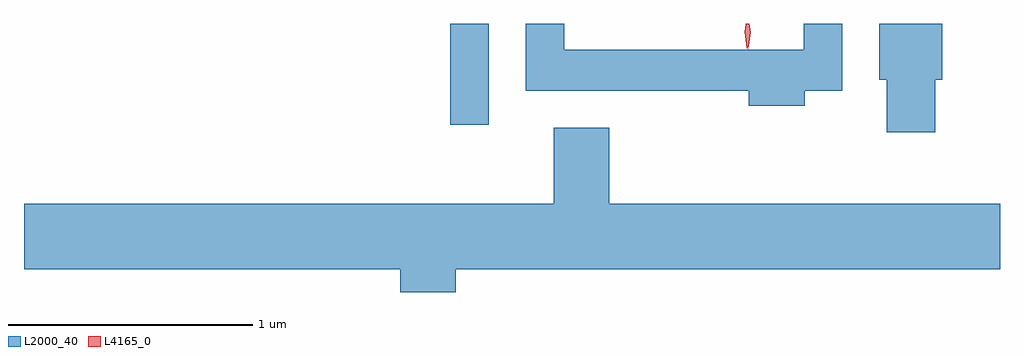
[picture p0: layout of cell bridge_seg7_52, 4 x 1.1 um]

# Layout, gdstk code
import gdstk
lib = gdstk.Library(unit=1e-6, precision=1e-09)
def R(c, l, rs):  # rectangles x0, y0, x1, y1
    for r in rs: c.add(gdstk.rectangle(r[:2], r[2:], *l))
def P(c, l, *ps):  # polygons
    for p in ps: c.add(gdstk.Polygon(p, *l))
L2000_40 = (2000, 40)
L4165_0 = (4165, 0)

bridge_seg7_52 = lib.new_cell('bridge_seg7_52')
R(bridge_seg7_52, L2000_40, [(1535.886,1805.928,1536.044,1806.342)])
P(bridge_seg7_52, L2000_40, [(1537.339,1806.066),(1537.494,1806.066),(1537.494,1806.342),(1537.336,1806.342),(1537.336,1806.234),(1536.354,1806.234),(1536.354,1806.342),(1536.196,1806.342),(1536.196,1806.066),(1537.111,1806.066),(1537.111,1806.006),(1537.339,1806.006)],
  [(1537.874,1806.111),(1537.904,1806.111),(1537.904,1806.342),(1537.646,1806.342),(1537.646,1806.111),(1537.676,1806.111),(1537.676,1805.896),(1537.874,1805.896)],
  [(1535.909,1805.336),(1538.14,1805.336),(1538.14,1805.604),(1536.539,1805.604),(1536.539,1805.914),(1536.311,1805.914),(1536.311,1805.604),(1534.14,1805.604),(1534.14,1805.336),(1535.681,1805.336),(1535.681,1805.24),(1535.909,1805.24)])
P(bridge_seg7_52, L4165_0, [(1537.103,1806.24),(1537.094,1806.306),(1537.099,1806.342),(1537.109,1806.342),(1537.114,1806.306),(1537.104,1806.24)],
  [(1537.108,1806.237),(1537.108,1806.238),(1537.098,1806.307),(1537.103,1806.342),(1537.113,1806.342),(1537.118,1806.307),(1537.109,1806.238)])

lib.write_gds('bridge_seg7_52.gds')
